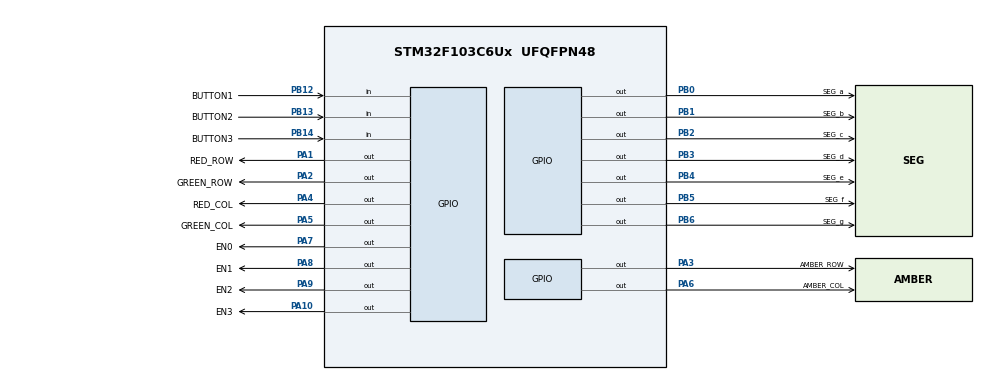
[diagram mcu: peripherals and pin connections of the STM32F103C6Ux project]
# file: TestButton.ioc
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Mcu.Family=STM32F1
Mcu.Name=STM32F103C6Ux
Mcu.Package=UFQFPN48
NVIC.PriorityGroup=NVIC_PRIORITYGROUP_4
NVIC.TIM2_IRQn=true\:0\:0\:false\:false\:true\:true\:true
PA1.GPIO_Label=RED_ROW
PA1.Signal=GPIO_Output
PA10.GPIO_Label=EN3
PA10.Signal=GPIO_Output
PA2.GPIO_Label=GREEN_ROW
PA2.Signal=GPIO_Output
PA3.GPIO_Label=AMBER_ROW
PA3.Signal=GPIO_Output
PA4.GPIO_Label=RED_COL
PA4.Signal=GPIO_Output
PA5.GPIO_Label=GREEN_COL
PA5.Signal=GPIO_Output
PA6.GPIO_Label=AMBER_COL
PA6.Signal=GPIO_Output
PA7.GPIO_Label=EN0
PA7.Signal=GPIO_Output
PA8.GPIO_Label=EN1
PA8.Signal=GPIO_Output
PA9.GPIO_Label=EN2
PA9.Signal=GPIO_Output
PB0.GPIO_Label=SEG_a
PB0.Signal=GPIO_Output
PB1.GPIO_Label=SEG_b
PB1.Signal=GPIO_Output
PB12.GPIO_Label=BUTTON1
PB12.GPIO_PuPd=GPIO_PULLUP
PB12.Signal=GPIO_Input
PB13.GPIO_Label=BUTTON2
PB13.GPIO_PuPd=GPIO_PULLUP
PB13.Signal=GPIO_Input
PB14.GPIO_Label=BUTTON3
PB14.GPIO_PuPd=GPIO_PULLUP
PB14.Signal=GPIO_Input
PB2.GPIO_Label=SEG_c
PB2.Signal=GPIO_Output
PB3.GPIO_Label=SEG_d
PB3.Signal=GPIO_Output
PB4.GPIO_Label=SEG_e
PB4.Signal=GPIO_Output
PB5.GPIO_Label=SEG_f
PB5.Signal=GPIO_Output
PB6.GPIO_Label=SEG_g
PB6.Signal=GPIO_Output
ProjectManager.HeapSize=0x200
ProjectManager.StackSize=0x400
ProjectManager.TargetToolchain=STM32CubeIDE
RCC.APB1Freq_Value=8000000
RCC.APB2Freq_Value=8000000
TIM2.Period=9
TIM2.Prescaler=7999
VP_SYS_VS_ND.Mode=No_Debug
VP_TIM2_VS_ClockSourceINT.Mode=Internal
board=custom

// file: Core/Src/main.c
/* USER CODE BEGIN Header */
/**
  ******************************************************************************
  * @file           : main.c
  * @brief          : Main program body
  ******************************************************************************
  * @attention
  *
  * <h2><center>&copy; Copyright (c) 2022 STMicroelectronics.
  * All rights reserved.</center></h2>
  *
  * This software component is licensed by ST under BSD 3-Clause license,
  * the "License"; You may not use this file except in compliance with the
  * License. You may obtain a copy of the License at:
  *                        opensource.org/licenses/BSD-3-Clause
  *
  ******************************************************************************
  */
/* USER CODE END Header */
#include "main.h"

/* USER CODE BEGIN Includes */
#include "timer.h"
#include "button.h"
#include "fsm_button.h"
#include "display_seven_seg.h"
#include "fsm_full.h"
/* USER CODE END Includes */

TIM_HandleTypeDef htim2;

void SystemClock_Config(void);
static void MX_GPIO_Init(void);
static void MX_TIM2_Init(void);

int main(void)
{

  /* MCU Configuration--------------------------------------------------------*/

  /* Reset of all peripherals, Initializes the Flash interface and the Systick. */
  HAL_Init();

  /* Configure the system clock */
  SystemClock_Config();

  /* Initialize all configured peripherals */
  MX_GPIO_Init();
  MX_TIM2_Init();
  /* USER CODE BEGIN 2 */
  HAL_TIM_Base_Start_IT(&htim2);
  /* USER CODE END 2 */

  /* Infinite loop */
  /* USER CODE BEGIN WHILE */
  setTimer1(1);
  setTimer2(1);
  setTimer3(1);
  while (1)
  {
	  fsm_button();
	  fsm_full_row();
	  fsm_full_col();

    /* USER CODE END WHILE */

  }
}

void SystemClock_Config(void)
{
  RCC_OscInitTypeDef RCC_OscInitStruct = {0};
  RCC_ClkInitTypeDef RCC_ClkInitStruct = {0};

  /** Initializes the RCC Oscillators according to the specified parameters
  * in the RCC_OscInitTypeDef structure.
  */
  RCC_OscInitStruct.OscillatorType = RCC_OSCILLATORTYPE_HSI;
  RCC_OscInitStruct.HSIState = RCC_HSI_ON;
  RCC_OscInitStruct.HSICalibrationValue = RCC_HSICALIBRATION_DEFAULT;
  RCC_OscInitStruct.PLL.PLLState = RCC_PLL_NONE;
  if (HAL_RCC_OscConfig(&RCC_OscInitStruct) != HAL_OK)
  {
    Error_Handler();
  }
  /** Initializes the CPU, AHB and APB buses clocks
  */
  RCC_ClkInitStruct.ClockType = RCC_CLOCKTYPE_HCLK|RCC_CLOCKTYPE_SYSCLK
                              |RCC_CLOCKTYPE_PCLK1|RCC_CLOCKTYPE_PCLK2;
  RCC_ClkInitStruct.SYSCLKSource = RCC_SYSCLKSOURCE_HSI;
  RCC_ClkInitStruct.AHBCLKDivider = RCC_SYSCLK_DIV1;
  RCC_ClkInitStruct.APB1CLKDivider = RCC_HCLK_DIV1;
  RCC_ClkInitStruct.APB2CLKDivider = RCC_HCLK_DIV1;

  if (HAL_RCC_ClockConfig(&RCC_ClkInitStruct, FLASH_LATENCY_0) != HAL_OK)
  {
    Error_Handler();
  }
}

static void MX_TIM2_Init(void)
{

  TIM_ClockConfigTypeDef sClockSourceConfig = {0};
  TIM_MasterConfigTypeDef sMasterConfig = {0};

  htim2.Instance = TIM2;
  htim2.Init.Prescaler = 7999;
  htim2.Init.CounterMode = TIM_COUNTERMODE_UP;
  htim2.Init.Period = 9;
  htim2.Init.ClockDivision = TIM_CLOCKDIVISION_DIV1;
  htim2.Init.AutoReloadPreload = TIM_AUTORELOAD_PRELOAD_DISABLE;
  if (HAL_TIM_Base_Init(&htim2) != HAL_OK)
  {
    Error_Handler();
  }
  sClockSourceConfig.ClockSource = TIM_CLOCKSOURCE_INTERNAL;
  if (HAL_TIM_ConfigClockSource(&htim2, &sClockSourceConfig) != HAL_OK)
  {
    Error_Handler();
  }
  sMasterConfig.MasterOutputTrigger = TIM_TRGO_RESET;
  sMasterConfig.MasterSlaveMode = TIM_MASTERSLAVEMODE_DISABLE;
  if (HAL_TIMEx_MasterConfigSynchronization(&htim2, &sMasterConfig) != HAL_OK)
  {
    Error_Handler();
  }

}

static void MX_GPIO_Init(void)
{
  GPIO_InitTypeDef GPIO_InitStruct = {0};

  /* GPIO Ports Clock Enable */
  __HAL_RCC_GPIOA_CLK_ENABLE();
  __HAL_RCC_GPIOB_CLK_ENABLE();

  /*Configure GPIO pin Output Level */
  HAL_GPIO_WritePin(GPIOA, RED_ROW_Pin|GREEN_ROW_Pin|AMBER_ROW_Pin|RED_COL_Pin
                          |GREEN_COL_Pin|AMBER_COL_Pin|EN0_Pin|EN1_Pin
                          |EN2_Pin|EN3_Pin, GPIO_PIN_RESET);

  /*Configure GPIO pin Output Level */
  HAL_GPIO_WritePin(GPIOB, SEG_a_Pin|SEG_b_Pin|SEG_c_Pin|SEG_d_Pin
                          |SEG_e_Pin|SEG_f_Pin|SEG_g_Pin, GPIO_PIN_RESET);

  /*Configure GPIO pins : RED_ROW_Pin GREEN_ROW_Pin AMBER_ROW_Pin RED_COL_Pin
                           GREEN_COL_Pin AMBER_COL_Pin EN0_Pin EN1_Pin
                           EN2_Pin EN3_Pin */
  GPIO_InitStruct.Pin = RED_ROW_Pin|GREEN_ROW_Pin|AMBER_ROW_Pin|RED_COL_Pin
                          |GREEN_COL_Pin|AMBER_COL_Pin|EN0_Pin|EN1_Pin
                          |EN2_Pin|EN3_Pin;
  GPIO_InitStruct.Mode = GPIO_MODE_OUTPUT_PP;
  GPIO_InitStruct.Pull = GPIO_NOPULL;
  GPIO_InitStruct.Speed = GPIO_SPEED_FREQ_LOW;
  HAL_GPIO_Init(GPIOA, &GPIO_InitStruct);

  /*Configure GPIO pins : SEG_a_Pin SEG_b_Pin SEG_c_Pin SEG_d_Pin
                           SEG_e_Pin SEG_f_Pin SEG_g_Pin */
  GPIO_InitStruct.Pin = SEG_a_Pin|SEG_b_Pin|SEG_c_Pin|SEG_d_Pin
                          |SEG_e_Pin|SEG_f_Pin|SEG_g_Pin;
  GPIO_InitStruct.Mode = GPIO_MODE_OUTPUT_PP;
  GPIO_InitStruct.Pull = GPIO_NOPULL;
  GPIO_InitStruct.Speed = GPIO_SPEED_FREQ_LOW;
  HAL_GPIO_Init(GPIOB, &GPIO_InitStruct);

  /*Configure GPIO pins : BUTTON1_Pin BUTTON2_Pin BUTTON3_Pin */
  GPIO_InitStruct.Pin = BUTTON1_Pin|BUTTON2_Pin|BUTTON3_Pin;
  GPIO_InitStruct.Mode = GPIO_MODE_INPUT;
  GPIO_InitStruct.Pull = GPIO_PULLUP;
  HAL_GPIO_Init(GPIOB, &GPIO_InitStruct);

}

/* USER CODE BEGIN 4 */
void HAL_TIM_PeriodElapsedCallback(TIM_HandleTypeDef * htim){
	timerRun();
	button_reading();
}
/* USER CODE END 4 */

void Error_Handler(void)
{
  __disable_irq();
  while (1)
  {
  }
}

/************************ (C) COPYRIGHT STMicroelectronics *****END OF FILE****/
